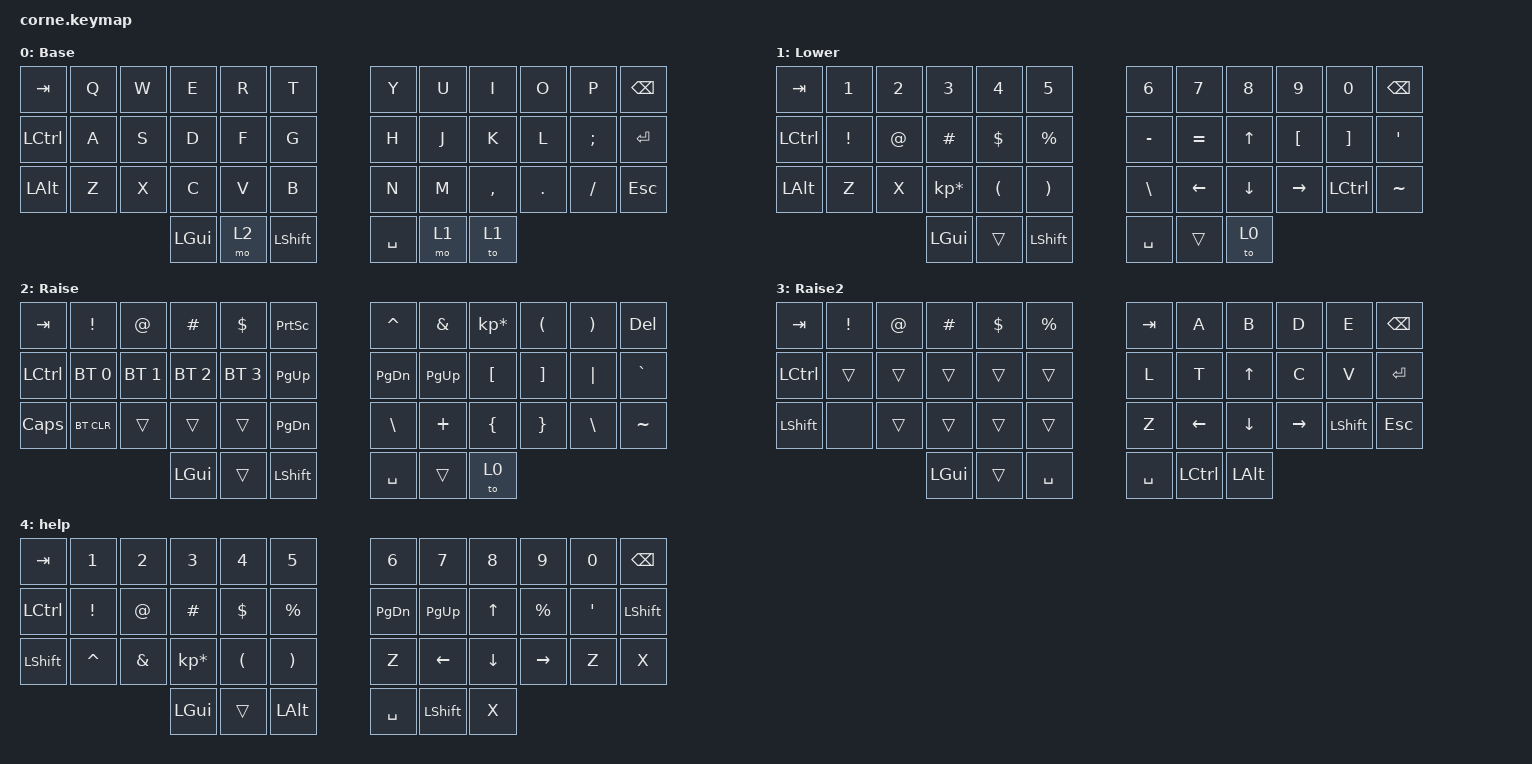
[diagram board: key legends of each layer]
/*
 * Copyright (c) 2020 The ZMK Contributors
 *
 * SPDX-License-Identifier: MIT
 */

#include <behaviors.dtsi>
#include <dt-bindings/zmk/keys.h>
#include <dt-bindings/zmk/bt.h>
#include <dt-bindings/zmk/mouse.h>

/ {
    combos {
        compatible = "zmk,combos";
        combo_L0 {
            timeout-ms = <50>;
            key-positions = <11 41>;
            bindings = <&to 0>;
        };
        combo_L1 {
            timeout-ms = <50>;
            key-positions = <23 41>;
            bindings = <&to 1>;
        };
        combo_L2 {
            timeout-ms = <50>;
            key-positions = <35 41>;
            bindings = <&to 2>;
        };
        combo_L3 {
            timeout-ms = <50>;
            key-positions = <10 41>;
            bindings = <&to 3>;
        };
        combo_L4 {
            timeout-ms = <50>;
            key-positions = <34 41>;
            bindings = <&to 4>;
        };
    };
};

/ {
        keymap {
                compatible = "zmk,keymap";
                L0_layer {
                        display-name = "Base";
                        bindings = <
   &kp TAB       &kp Q         &kp W       &kp E       &kp R        &kp T             &kp Y         &kp U       &kp I        &kp O        &kp P         &kp BSPC
   &kp LCTRL     &kp A         &kp S       &kp D       &kp F        &kp G             &kp H         &kp J       &kp K        &kp L        &kp SEMI      &kp RET
   &kp LALT      &kp Z         &kp X       &kp C       &kp V        &kp B             &kp N         &kp M       &kp COMMA    &kp DOT      &kp FSLH      &kp ESC
                                           &kp LGUI    &mo 2        &kp LSHFT         &kp SPACE     &mo 1       &to 1
                        >;
                };
                L1_layer {
                        display-name = "Lower";
                        bindings = <
   &kp TAB       &kp N1       &kp N2       &kp N3       &kp N4       &kp N5            &kp N6       &kp N7       &kp N8       &kp N9       &kp N0       &kp BSPC
   &kp LCTRL     &kp EXCL     &kp AT       &kp HASH     &kp DLLR     &kp PRCNT         &kp MINUS    &kp EQUAL    &kp UP       &kp LBKT     &kp RBKT     &kp SQT
   &kp LALT      &kp Z        &kp X        &kp KP_MULTIPLY &kp LPAR  &kp RPAR          &kp BSLH     &kp LEFT     &kp DOWN     &kp RIGHT    &kp LCTRL    &kp TILDE
                                           &kp LGUI     &trans       &kp LSHFT         &kp SPACE    &trans       &to 0
                        >;
                };
                L2_layer {
                        display-name = "Raise";
                        bindings = <
   &kp TAB       &kp EXCL     &kp AT       &kp HASH     &kp DLLR     &kp PSCRN         &kp CARET    &kp AMPS     &kp KP_MULTIPLY &kp LPAR  &kp RPAR     &kp DEL
   &kp LCTRL     &bt BT_SEL 0 &bt BT_SEL 1 &bt BT_SEL 2 &bt BT_SEL 3 &kp PG_UP         &kp PG_DN    &kp PG_UP    &kp LBKT     &kp RBKT     &kp PIPE     &kp GRAVE
   &kp CLCK      &bt BT_CLR   &trans       &trans       &trans       &kp PG_DN         &kp BSLH    &kp PLUS     &kp LBRC     &kp RBRC     &kp BSLH     &kp TILDE
                                           &kp LGUI     &trans       &kp LSHFT         &kp SPACE    &trans       &to 0
                        >;
                };
                L3_layer {
                        display-name = "Raise2";
                        bindings = <
   &kp TAB      &kp EXCL     &kp AT       &kp HASH     &kp DLLR     &kp PRCNT         &kp TAB      &kp A        &kp B        &kp D        &kp E        &kp BSPC
   &kp LCTRL    &trans       &trans       &trans       &trans       &trans            &kp L        &kp T        &kp UP       &kp C        &kp V        &kp RET
   &kp LSHFT    &none        &trans       &trans       &trans       &trans            &kp Z        &kp LEFT     &kp DOWN     &kp RIGHT    &kp LSHFT    &kp ESC
                    	                  &kp LGUI     &trans       &kp SPACE         &kp SPACE    &kp LCTRL    &kp LALT
                        >;
                };
                L4_layer {
                        display-name = "help";
                        bindings = <
   &kp TAB       &kp N1       &kp N2       &kp N3       &kp N4       &kp N5            &kp N6       &kp N7       &kp N8       &kp N9       &kp N0       &kp BSPC
   &kp LCTRL     &kp EXCL     &kp AT       &kp HASH     &kp DLLR     &kp PRCNT         &kp PG_DN    &kp PG_UP    &kp UP       &kp PRCNT    &kp SQT      &kp LSHFT
   &kp LSHFT     &kp CARET    &kp AMPS     &kp KP_MULTIPLY &kp LPAR  &kp RPAR          &kp Z        &kp LEFT     &kp DOWN     &kp RIGHT    &kp Z        &kp X
                                           &kp LGUI     &trans       &kp LALT          &kp SPACE    &kp LSHFT    &kp X
                        >;
                };
        };
};
